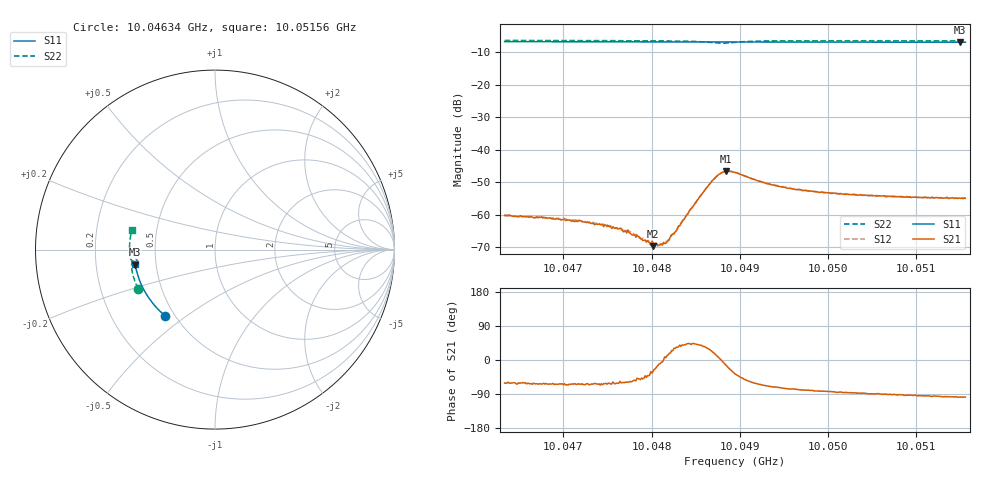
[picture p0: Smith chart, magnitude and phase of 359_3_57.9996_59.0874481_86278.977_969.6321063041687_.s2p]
#  HZ  S  RI  R  50.00
! Rohde & Schwarz Vector Network Analyzer
! Rohde-Schwarz,ZNB20-2Port,1311601062101988,3.16
! Created: UTC 3/21/2024, 1:06:21 AM
! freq[Hz]  re:S11  im:S11  re:S21  im:S21  re:S12  im:S12  re:S22  im:S22
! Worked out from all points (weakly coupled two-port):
!   401 points, 10.04634 GHz to 10.05156 GHz, reference 50 ohm
!   highest |S21| = -46.61 dB at 10.04884 GHz (marker M1); lowest = -69.6 dB at 10.04802 GHz (marker M2)
!   lowest |S11| = -6.9 dB at 10.05149 GHz (marker M3), VSWR 2.65, Z = 19 - j4.02 ohm
!   |S11| at or under -10 dB: nowhere
!   |S22| runs from -7.2 to -6.4 dB; largest |S21 - S12| = 0.00032
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1.0046336e10  -0.2758 -0.3696  0.000471 -0.000849  0.000541 -0.00083  -0.4286 -0.2185
1.0046727e10  -0.2956 -0.3529  0.000411 -0.000806  0.000472 -0.000798  -0.4393 -0.1944
1.004721e10  -0.3186 -0.3306  0.000362 -0.000697  0.000406 -0.000694  -0.4507 -0.1638
1.0047471e10  -0.3305 -0.3181  0.000325 -0.000621  0.000348 -0.000621  -0.4559 -0.1464
1.0047628e10  -0.3373 -0.3104  0.000285 -0.000531  0.000325 -0.000488  -0.4586 -0.1357
1.0047758e10  -0.3429 -0.3039  0.000286 -0.000435  0.00032 -0.000454  -0.4607 -0.1265
1.0047967e10  -0.3515 -0.2931  0.000282 -0.000252  0.000338 -0.000221  -0.4633 -0.1112
1.0048019e10  -0.3535 -0.2903  0.00029 -0.000161  0.00034 -0.000152  -0.4638 -0.1073
1.0048084e10  -0.3561 -0.2869  0.000332 -6.5e-05  0.000344 -5.01e-05  -0.4643 -0.1023
1.0048176e10  -0.3598 -0.2823  0.000374 7.61e-05  0.000372 0.00012  -0.4648 -0.095
1.0048267e10  -0.3633 -0.2774  0.000464 0.000279  0.00046 0.000286  -0.4649 -0.0873
1.0048476e10  -0.371 -0.266  0.000989 0.000943  0.000982 0.001  -0.4607 -0.0682
1.0048672e10  -0.3781 -0.2551  0.00284 0.00131  0.00273 0.00148  -0.4442 -0.0545
1.0048763e10  -0.381 -0.2501  0.00415 0.000452  0.00412 0.000677  -0.4338 -0.059
1.0048841e10  -0.3838 -0.2459  0.00455 -0.00107  0.0046 -0.000808  -0.4327 -0.0689
1.0048946e10  -0.3873 -0.2402  0.0036 -0.00267  0.0038 -0.00243  -0.444 -0.076
1.0049337e10  -0.3997 -0.2177  0.00103 -0.00276  0.00122 -0.00275  -0.4708 -0.0481
1.0049559e10  -0.4063 -0.2046  0.000614 -0.00248  0.000765 -0.00243  -0.4744 -0.0302
1.004982e10  -0.4133 -0.1889  0.000393 -0.00227  0.00049 -0.00224  -0.4762 -0.0107
1.0050694e10  -0.4326 -0.135  -2.64e-05 -0.00192  7.07e-05 -0.00192  -0.4741 0.0501
1.005149e10  -0.444 -0.0841  -0.000249 -0.00179  -0.000126 -0.0018  -0.4651 0.1026
1.0051555e10  -0.4448 -0.08  -0.000243 -0.00177  -0.000174 -0.00179  -0.464 0.1068
